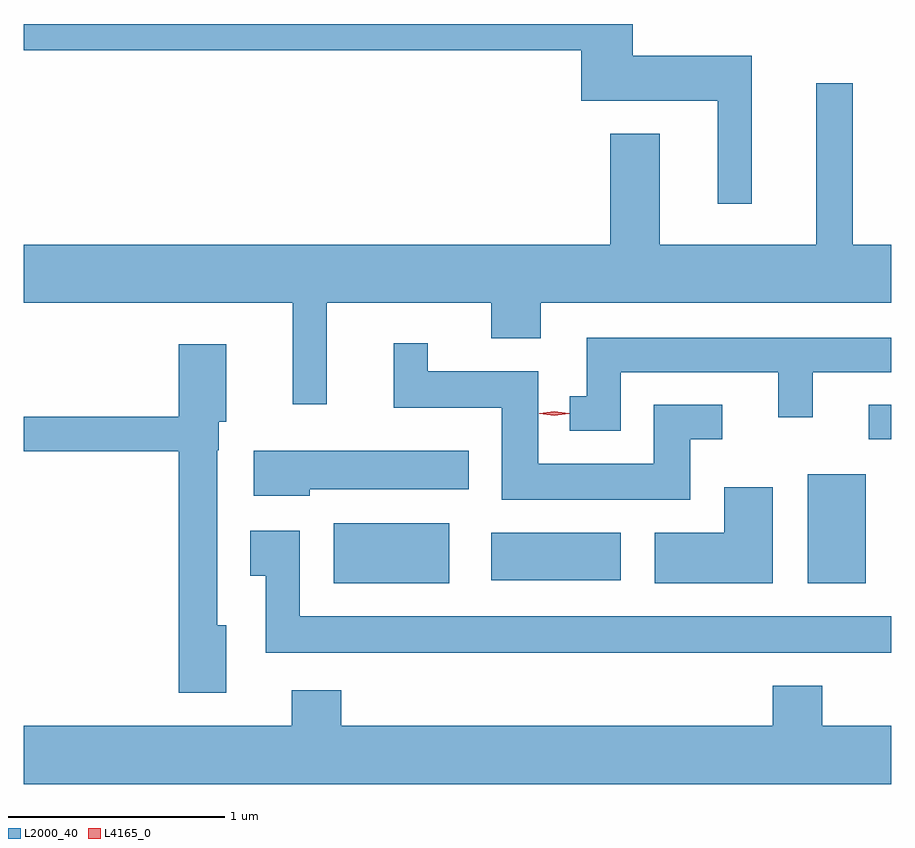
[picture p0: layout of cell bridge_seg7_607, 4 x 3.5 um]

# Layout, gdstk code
import gdstk
lib = gdstk.Library(unit=1e-6, precision=1e-09)
def R(c, l, rs):  # rectangles x0, y0, x1, y1
    for r in rs: c.add(gdstk.rectangle(r[:2], r[2:], *l))
def P(c, l, *ps):  # polygons
    for p in ps: c.add(gdstk.Polygon(p, *l))
L2000_40 = (2000, 40)
L4165_0 = (4165, 0)

bridge_seg7_607 = lib.new_cell('bridge_seg7_607')
R(bridge_seg7_607, L2000_40, [(807.266,1681.941,807.799,1682.219), (809.451,1681.941,809.719,1682.444), (807.991,1681.956,808.589,1682.174), (809.733,1682.606,809.836,1682.764)])
P(bridge_seg7_607, L2000_40, [(809.194,1684.374),(808.644,1684.374),(808.644,1684.521),(805.836,1684.521),(805.836,1684.401),(808.406,1684.401),(808.406,1684.166),(809.036,1684.166),(809.036,1683.693),(809.194,1683.693)],
  [(807.234,1683.236),(807.991,1683.236),(807.991,1683.071),(808.219,1683.071),(808.219,1683.236),(809.836,1683.236),(809.836,1683.504),(809.659,1683.504),(809.659,1684.248),(809.491,1684.248),(809.491,1683.504),(808.769,1683.504),(808.769,1684.014),(808.541,1684.014),(808.541,1683.504),(805.836,1683.504),(805.836,1683.236),(807.076,1683.236),(807.076,1682.768),(807.234,1682.768)],
  [(808.589,1682.916),(809.316,1682.916),(809.316,1682.708),(809.474,1682.708),(809.474,1682.916),(809.836,1682.916),(809.836,1683.074),(808.431,1683.074),(808.431,1682.804),(808.353,1682.804),(808.353,1682.646),(808.589,1682.646)],
  [(808.909,1682.606),(809.058,1682.606),(809.058,1682.764),(808.741,1682.764),(808.741,1682.494),(808.209,1682.494),(808.209,1682.919),(807.699,1682.919),(807.699,1683.048),(807.541,1683.048),(807.541,1682.751),(808.041,1682.751),(808.041,1682.326),(808.909,1682.326)],
  [(806.769,1681.749),(806.729,1681.749),(806.729,1682.555),(806.734,1682.555),(806.734,1682.686),(806.769,1682.686),(806.769,1683.044),(806.551,1683.044),(806.551,1682.709),(805.836,1682.709),(805.836,1682.551),(806.551,1682.551),(806.551,1681.436),(806.769,1681.436)],
  [(807.154,1682.376),(807.889,1682.376),(807.889,1682.554),(806.896,1682.554),(806.896,1682.346),(807.154,1682.346)],
  [(809.289,1682.384),(809.066,1682.384),(809.066,1682.174),(808.746,1682.174),(808.746,1681.941),(809.289,1681.941)],
  [(809.836,1681.789),(807.109,1681.789),(807.109,1682.184),(806.881,1682.184),(806.881,1681.976),(806.951,1681.976),(806.951,1681.621),(809.836,1681.621)],
  [(809.836,1681.284),(809.519,1681.284),(809.519,1681.469),(809.291,1681.469),(809.291,1681.284),(807.299,1681.284),(807.299,1681.449),(807.071,1681.449),(807.071,1681.284),(805.836,1681.284),(805.836,1681.016),(809.836,1681.016)])
P(bridge_seg7_607, L4165_0, [(808.282,1682.715),(808.212,1682.724),(808.212,1682.725),(808.212,1682.725),(808.282,1682.735),(808.351,1682.725),(808.351,1682.725),(808.351,1682.724)])

lib.write_gds('bridge_seg7_607.gds')
